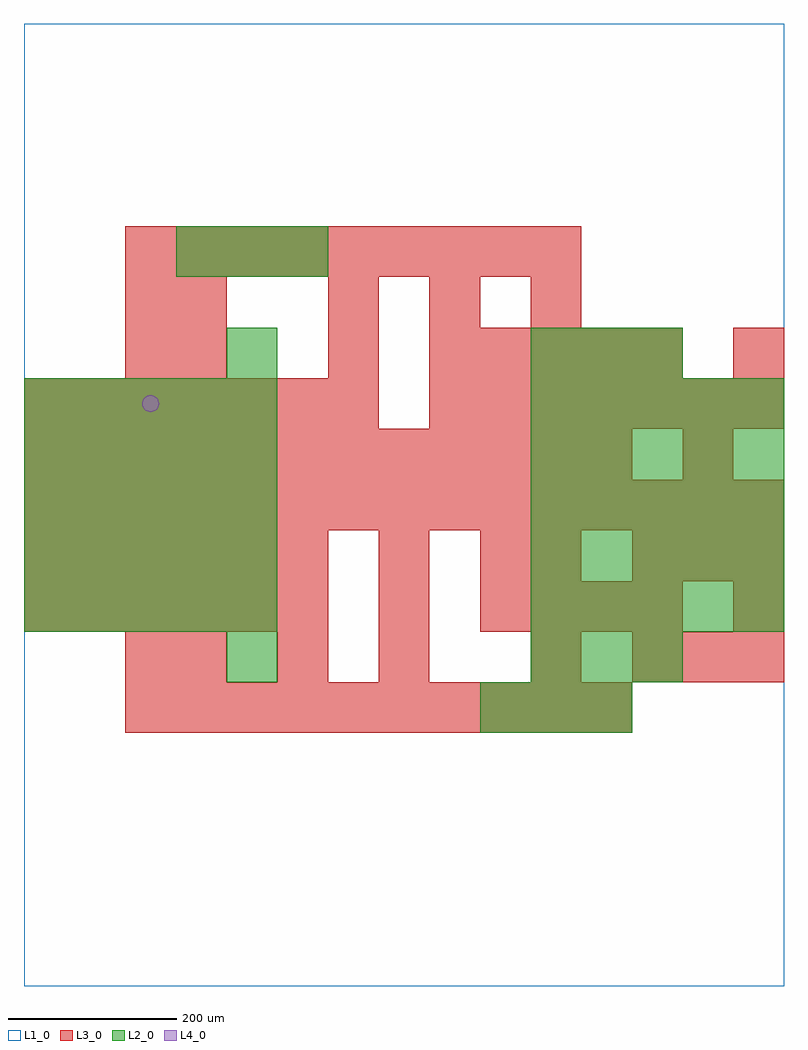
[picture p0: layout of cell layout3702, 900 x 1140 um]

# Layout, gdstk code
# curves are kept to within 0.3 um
import gdstk
lib = gdstk.Library(unit=1e-6, precision=1e-09)
def R(c, l, rs):  # rectangles x0, y0, x1, y1
    for r in rs: c.add(gdstk.rectangle(r[:2], r[2:], *l))
def A(c, l, x, y, w, h, nx, ny, dx, dy):  # array of equal rectangles
    R(c, l, [(x+i*dx, y+j*dy, x+i*dx+w, y+j*dy+h) for i in range(nx) for j in range(ny)])
def P(c, l, *ps):  # polygons
    for p in ps: c.add(gdstk.Polygon(p, *l))
L1_0 = (1, 0)
L2_0 = (2, 0)
L3_0 = (3, 0)
L4_0 = (4, 0)

layout3702 = lib.new_cell('layout3702')
R(layout3702, L1_0, [(0,0,900,1140)])
A(layout3702, L2_0, 540, 300, 60, 60, 3, 1, 60, 0)
A(layout3702, L2_0, 600, 360, 60, 60, 3, 2, 60, 360)
A(layout3702, L2_0, 0, 420, 60, 60, 5, 5, 60, 60)
A(layout3702, L2_0, 600, 420, 60, 60, 5, 5, 60, 60)
A(layout3702, L2_0, 180, 840, 60, 60, 3, 1, 60, 0)
R(layout3702, L2_0, [(240,360,300,420), (240,720,300,780)])
A(layout3702, L3_0, 120, 300, 60, 60, 10, 1, 60, 0)
A(layout3702, L3_0, 180, 360, 60, 60, 3, 1, 120, 0)
A(layout3702, L3_0, 720, 360, 60, 60, 3, 2, 60, 120)
A(layout3702, L3_0, 0, 420, 60, 60, 6, 2, 60, 60)
A(layout3702, L3_0, 540, 420, 60, 60, 4, 1, 60, 0)
A(layout3702, L3_0, 0, 540, 60, 60, 15, 1, 60, 0)
A(layout3702, L3_0, 0, 600, 60, 60, 12, 1, 60, 0)
A(layout3702, L3_0, 0, 660, 60, 60, 7, 1, 60, 0)
A(layout3702, L3_0, 480, 660, 60, 60, 7, 1, 60, 0)
A(layout3702, L3_0, 480, 720, 60, 60, 5, 1, 60, 0)
A(layout3702, L3_0, 360, 780, 60, 60, 3, 1, 120, 0)
A(layout3702, L3_0, 120, 840, 60, 60, 9, 1, 60, 0)
R(layout3702, L3_0, [(120,360,180,420), (600,360,660,420), (420,420,480,480), (840,420,900,480), (420,480,480,540), (540,480,600,540), (600,480,660,540), (780,600,840,660), (120,720,180,780), (180,720,240,780), (360,720,420,780), (840,720,900,780), (120,780,180,840), (180,780,240,840)])
P(layout3702, L4_0, [(160,690),(159.239,693.827),(157.071,697.071),(153.827,699.239),(150,700),(146.173,699.239),(142.929,697.071),(140.761,693.827),(140,690),(140.761,686.173),(142.929,682.929),(146.173,680.761),(150,680),(153.827,680.761),(157.071,682.929),(159.239,686.173)])

lib.write_gds('layout3702.gds')
